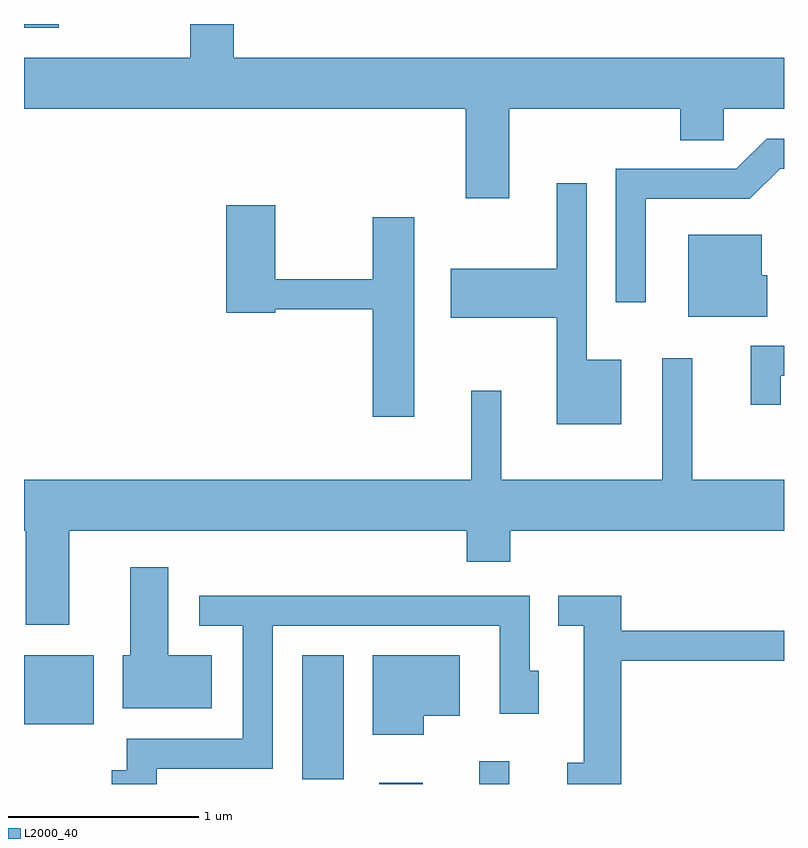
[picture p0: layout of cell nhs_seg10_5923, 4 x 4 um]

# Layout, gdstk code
import gdstk
lib = gdstk.Library(unit=1e-6, precision=1e-09)
def R(c, l, rs):  # rectangles x0, y0, x1, y1
    for r in rs: c.add(gdstk.rectangle(r[:2], r[2:], *l))
def P(c, l, *ps):  # polygons
    for p in ps: c.add(gdstk.Polygon(p, *l))
L2000_40 = (2000, 40)

nhs_seg10_5923 = lib.new_cell('nhs_seg10_5923')
R(nhs_seg10_5923, L2000_40, [(361.481,2172.522,361.709,2172.529), (362.006,2172.522,362.164,2172.643), (361.076,2172.546,361.294,2173.199), (359.611,2172.836,359.979,2173.199), (359.611,2176.501,359.794,2176.522)])
P(nhs_seg10_5923, L2000_40, [(362.164,2176.076),(363.066,2176.076),(363.066,2175.911),(363.294,2175.911),(363.294,2176.076),(363.611,2176.076),(363.611,2176.344),(360.714,2176.344),(360.714,2176.522),(360.486,2176.522),(360.486,2176.344),(359.611,2176.344),(359.611,2176.076),(361.936,2176.076),(361.936,2175.606),(362.164,2175.606)],
  [(362.884,2175.601),(363.432,2175.601),(363.592,2175.761),(363.611,2175.761),(363.611,2175.919),(363.519,2175.919),(363.359,2175.759),(362.726,2175.759),(362.726,2175.058),(362.884,2175.058)],
  [(362.754,2174.754),(362.574,2174.754),(362.574,2175.683),(362.416,2175.683),(362.416,2175.234),(361.856,2175.234),(361.856,2174.976),(362.416,2174.976),(362.416,2174.416),(362.754,2174.416)],
  [(361.664,2175.504),(361.446,2175.504),(361.446,2175.179),(360.934,2175.179),(360.934,2175.569),(360.676,2175.569),(360.676,2175.001),(360.934,2175.001),(360.934,2175.021),(361.446,2175.021),(361.446,2174.456),(361.664,2174.456)],
  [(363.524,2175.199),(363.494,2175.199),(363.494,2175.414),(363.106,2175.414),(363.106,2174.981),(363.524,2174.981)],
  [(363.594,2174.671),(363.611,2174.671),(363.611,2174.829),(363.436,2174.829),(363.436,2174.518),(363.594,2174.518)],
  [(359.849,2173.856),(361.941,2173.856),(361.941,2173.691),(362.169,2173.691),(362.169,2173.856),(363.611,2173.856),(363.611,2174.124),(363.129,2174.124),(363.129,2174.763),(362.971,2174.763),(362.971,2174.124),(362.124,2174.124),(362.124,2174.593),(361.966,2174.593),(361.966,2174.124),(359.611,2174.124),(359.611,2173.856),(359.621,2173.856),(359.621,2173.361),(359.849,2173.361)],
  [(360.599,2173.199),(360.369,2173.199),(360.369,2173.664),(360.171,2173.664),(360.171,2173.199),(360.131,2173.199),(360.131,2172.921),(360.599,2172.921)],
  [(362.754,2173.171),(363.611,2173.171),(363.611,2173.329),(362.754,2173.329),(362.754,2173.514),(362.423,2173.514),(362.423,2173.356),(362.556,2173.356),(362.556,2172.634),(362.471,2172.634),(362.471,2172.522),(362.754,2172.522)],
  [(360.309,2172.601),(360.919,2172.601),(360.919,2173.356),(362.116,2173.356),(362.116,2172.891),(362.319,2172.891),(362.319,2173.119),(362.274,2173.119),(362.274,2173.514),(360.533,2173.514),(360.533,2173.356),(360.761,2173.356),(360.761,2172.759),(360.151,2172.759),(360.151,2172.594),(360.073,2172.594),(360.073,2172.522),(360.309,2172.522)],
  [(361.714,2172.881),(361.904,2172.881),(361.904,2173.199),(361.446,2173.199),(361.446,2172.781),(361.714,2172.781)])

lib.write_gds('nhs_seg10_5923.gds')
